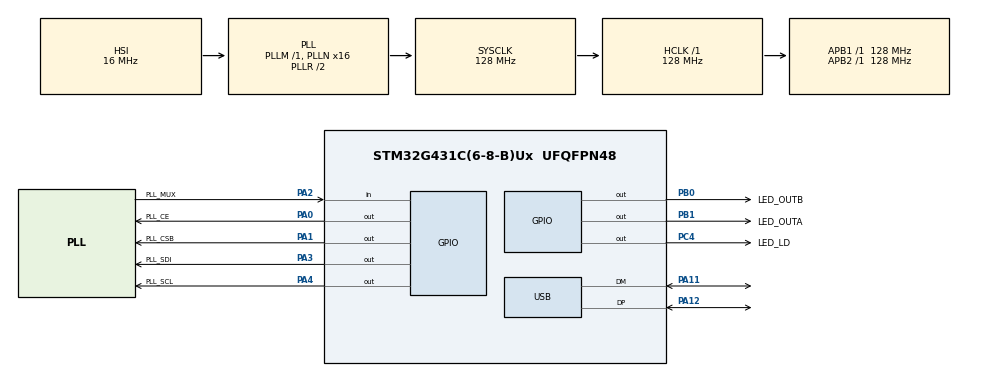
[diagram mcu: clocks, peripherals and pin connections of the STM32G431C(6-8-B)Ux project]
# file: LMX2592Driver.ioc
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Mcu.Family=STM32G4
Mcu.Name=STM32G431C(6-8-B)Ux
Mcu.Package=UFQFPN48
NVIC.PriorityGroup=NVIC_PRIORITYGROUP_4
NVIC.USB_LP_IRQn=true\:0\:0\:false\:false\:true\:false\:true\:true
PA0.GPIO_Label=PLL_CE
PA0.Signal=GPIO_Output
PA1.GPIO_Label=PLL_CSB
PA1.Signal=GPIO_Output
PA11.Mode=Device
PA11.Signal=USB_DM
PA12.Mode=Device
PA12.Signal=USB_DP
PA2.GPIO_Label=PLL_MUX
PA2.Signal=GPIO_Input
PA3.GPIO_Label=PLL_SDI
PA3.Signal=GPIO_Output
PA4.GPIO_Label=PLL_SCL
PA4.Signal=GPIO_Output
PB0.GPIO_Label=LED_OUTB
PB0.Signal=GPIO_Output
PB1.GPIO_Label=LED_OUTA
PB1.Signal=GPIO_Output
PC4.GPIO_Label=LED_LD
PC4.Signal=GPIO_Output
ProjectManager.HeapSize=0x200
ProjectManager.StackSize=0x400
ProjectManager.TargetToolchain=STM32CubeIDE
RCC.ADC12Freq_Value=128000000
RCC.AHBFreq_Value=128000000
RCC.APB1Freq_Value=128000000
RCC.APB1TimFreq_Value=128000000
RCC.APB2Freq_Value=128000000
RCC.APB2TimFreq_Value=128000000
RCC.CK48CLockSelection=RCC_USBCLKSOURCE_HSI48
RCC.CortexFreq_Value=128000000
RCC.EXTERNAL_CLOCK_VALUE=12288000
RCC.HCLKFreq_Value=128000000
RCC.HSE_VALUE=8000000
RCC.HSI48_VALUE=48000000
RCC.HSI_VALUE=16000000
RCC.LSE_VALUE=32768
RCC.PLLN=16
RCC.SYSCLKFreq_VALUE=128000000
RCC.SYSCLKSource=RCC_SYSCLKSOURCE_PLLCLK
RCC.USBFreq_Value=48000000
RCC.VCOOutputFreq_Value=256000000
USB_DEVICE.CLASS_NAME_FS=CDC
USB_DEVICE.VirtualMode=Cdc
USB_DEVICE.VirtualModeFS=Cdc_FS
VP_SYS_VS_DBSignals.Mode=DisableDeadBatterySignals
VP_USB_DEVICE_VS_USB_DEVICE_CDC_FS.Mode=CDC_FS
board=custom

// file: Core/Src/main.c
/* USER CODE BEGIN Header */
/**
  ******************************************************************************
  * @file           : main.c
  * @brief          : Main program body
  ******************************************************************************
  * @attention
  *
  * Copyright (c) 2026 STMicroelectronics.
  * All rights reserved.
  *
  * This software is licensed under terms that can be found in the LICENSE file
  * in the root directory of this software component.
  * If no LICENSE file comes with this software, it is provided AS-IS.
  *
  ******************************************************************************
  */
/* USER CODE END Header */
#include "main.h"
#include "usb_device.h"
#include "gpio.h"

/* USER CODE BEGIN Includes */
#include "LMX2592.h"
#include "protocol.h"
/* USER CODE END Includes */

void SystemClock_Config(void);

int main(void)
{

  /* MCU Configuration--------------------------------------------------------*/

  /* Reset of all peripherals, Initializes the Flash interface and the Systick. */
  HAL_Init();

  /* Configure the system clock */
  SystemClock_Config();

  /* Initialize all configured peripherals */
  MX_GPIO_Init();
  MX_USB_Device_Init();
  /* USER CODE BEGIN 2 */
  LMX2592_Init();
  LMX2592_SetMuxPin(LMX2592_MUX_LOCK_DET);
  LMX2592_SetOutputChannel(LMX2592_CHANNEL_A);
  LMX2592_SetOutputPower(LMX2592_CHANNEL_A, -20);
  LMX2592_SetReferenceFrequency(50, 1, 1, 1, 1); //默认配置fPD=100MHz 经测试5GHz输出时此代码对相位噪声影响不大
  LMX2592_SetFrequency(LMX2592_CHANNEL_A, 3000);
  LMX2592_SetMuxPin(1);

  Protocol_Init();
  /* USER CODE END 2 */

  /* Infinite loop */
  while (1)
  {

    /* USER CODE BEGIN 3 */
//	LMX2592_GetLockStatus();
	if(LMX2592_MUX_READ())
	  LED_LD(1);
	else
	  LED_LD(0);
	HAL_Delay(100);
//	Protocol_TestSendCW24GHzSpectrum();
//	Protocol_TestSendSegmentedSpectrum();
  }
  /* USER CODE END 3 */
}

void SystemClock_Config(void)
{
  RCC_OscInitTypeDef RCC_OscInitStruct = {0};
  RCC_ClkInitTypeDef RCC_ClkInitStruct = {0};

  /** Configure the main internal regulator output voltage
  */
  HAL_PWREx_ControlVoltageScaling(PWR_REGULATOR_VOLTAGE_SCALE1);

  /** Initializes the RCC Oscillators according to the specified parameters
  * in the RCC_OscInitTypeDef structure.
  */
  RCC_OscInitStruct.OscillatorType = RCC_OSCILLATORTYPE_HSI|RCC_OSCILLATORTYPE_HSI48;
  RCC_OscInitStruct.HSIState = RCC_HSI_ON;
  RCC_OscInitStruct.HSICalibrationValue = RCC_HSICALIBRATION_DEFAULT;
  RCC_OscInitStruct.HSI48State = RCC_HSI48_ON;
  RCC_OscInitStruct.PLL.PLLState = RCC_PLL_ON;
  RCC_OscInitStruct.PLL.PLLSource = RCC_PLLSOURCE_HSI;
  RCC_OscInitStruct.PLL.PLLM = RCC_PLLM_DIV1;
  RCC_OscInitStruct.PLL.PLLN = 16;
  RCC_OscInitStruct.PLL.PLLP = RCC_PLLP_DIV2;
  RCC_OscInitStruct.PLL.PLLQ = RCC_PLLQ_DIV2;
  RCC_OscInitStruct.PLL.PLLR = RCC_PLLR_DIV2;
  if (HAL_RCC_OscConfig(&RCC_OscInitStruct) != HAL_OK)
  {
    Error_Handler();
  }

  /** Initializes the CPU, AHB and APB buses clocks
  */
  RCC_ClkInitStruct.ClockType = RCC_CLOCKTYPE_HCLK|RCC_CLOCKTYPE_SYSCLK
                              |RCC_CLOCKTYPE_PCLK1|RCC_CLOCKTYPE_PCLK2;
  RCC_ClkInitStruct.SYSCLKSource = RCC_SYSCLKSOURCE_PLLCLK;
  RCC_ClkInitStruct.AHBCLKDivider = RCC_SYSCLK_DIV1;
  RCC_ClkInitStruct.APB1CLKDivider = RCC_HCLK_DIV1;
  RCC_ClkInitStruct.APB2CLKDivider = RCC_HCLK_DIV1;

  if (HAL_RCC_ClockConfig(&RCC_ClkInitStruct, FLASH_LATENCY_4) != HAL_OK)
  {
    Error_Handler();
  }
}

void Error_Handler(void)
{
  __disable_irq();
  while (1)
  {
  }
}
